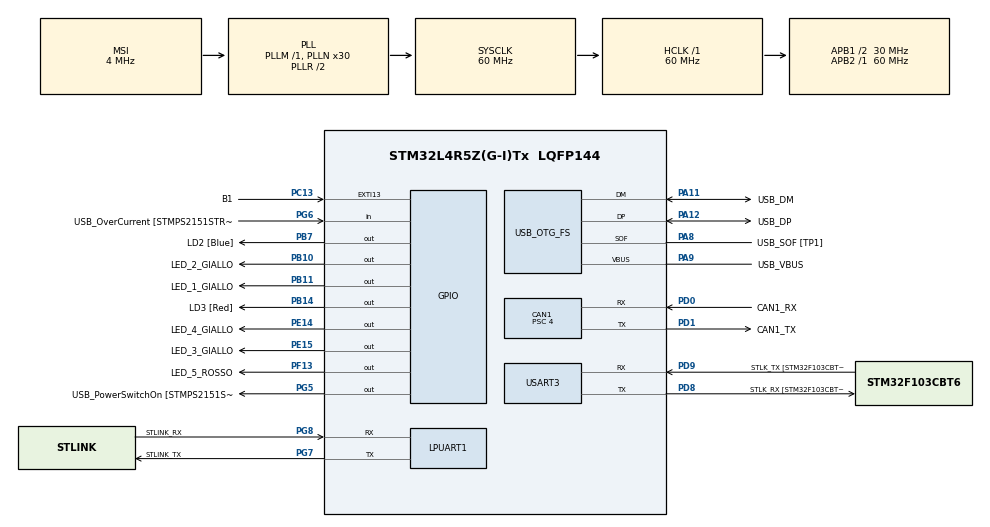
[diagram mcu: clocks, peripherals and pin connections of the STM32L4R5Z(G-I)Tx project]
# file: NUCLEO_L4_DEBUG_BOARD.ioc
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CAN1.BS1=CAN_BS1_12TQ
CAN1.BS2=CAN_BS2_2TQ
CAN1.CalculateTimeQuantum=133.33333333333334
CAN1.Prescaler=4
Mcu.Family=STM32L4
Mcu.Name=STM32L4R5Z(G-I)Tx
Mcu.Package=LQFP144
NVIC.CAN1_RX0_IRQn=true\:0\:0\:false\:false\:true\:true\:true
NVIC.CAN1_RX1_IRQn=true\:0\:0\:false\:false\:true\:true\:true
NVIC.CAN1_TX_IRQn=true\:0\:0\:false\:false\:true\:true\:true
NVIC.PriorityGroup=NVIC_PRIORITYGROUP_4
NVIC.TIM2_IRQn=true\:0\:0\:false\:false\:true\:true\:true
NVIC.TIM3_IRQn=true\:0\:0\:false\:false\:true\:true\:true
PA10.GPIO_Label=USB_ID
PA10.Signal=USB_OTG_FS_ID
PA11.GPIO_Label=USB_DM
PA11.Mode=Device_Only
PA11.Signal=USB_OTG_FS_DM
PA12.GPIO_Label=USB_DP
PA12.Mode=Device_Only
PA12.Signal=USB_OTG_FS_DP
PA13\ (JTMS/SWDIO).GPIO_Label=TMS
PA13\ (JTMS/SWDIO).Mode=Trace_Asynchronous_SW
PA13\ (JTMS/SWDIO).Signal=SYS_JTMS-SWDIO
PA14\ (JTCK/SWCLK).GPIO_Label=TCK
PA14\ (JTCK/SWCLK).Mode=Trace_Asynchronous_SW
PA14\ (JTCK/SWCLK).Signal=SYS_JTCK-SWCLK
PA8.GPIO_Label=USB_SOF [TP1]
PA8.Mode=Activate_SOF_FS
PA8.Signal=USB_OTG_FS_SOF
PA9.GPIO_Label=USB_VBUS
PA9.Mode=Activate_VBUS
PA9.Signal=USB_OTG_FS_VBUS
PB10.GPIO_Label=LED_2_GIALLO
PB10.Signal=GPIO_Output
PB11.GPIO_Label=LED_1_GIALLO
PB11.Signal=GPIO_Output
PB14.GPIO_Label=LD3 [Red]
PB14.Signal=GPIO_Output
PB3\ (JTDO/TRACESWO).GPIO_Label=SWO
PB3\ (JTDO/TRACESWO).Mode=Trace_Asynchronous_SW
PB3\ (JTDO/TRACESWO).Signal=SYS_JTDO-SWO
PB7.GPIO_Label=LD2 [Blue]
PB7.Signal=GPIO_Output
PC13.GPIO_Label=B1
PC13.Signal=GPXTI13
PC14-OSC32_IN\ (PC14).Mode=LSE-External-Oscillator
PC14-OSC32_IN\ (PC14).Signal=RCC_OSC32_IN
PC15-OSC32_OUT\ (PC15).Mode=LSE-External-Oscillator
PC15-OSC32_OUT\ (PC15).Signal=RCC_OSC32_OUT
PD0.GPIO_Label=CAN1_RX
PD0.Mode=Master
PD0.Signal=CAN1_RX
PD1.GPIO_Label=CAN1_TX
PD1.Mode=Master
PD1.Signal=CAN1_TX
PD8.GPIO_Label=STLK_RX [STM32F103CBT6_PA3]
PD8.Mode=Asynchronous
PD8.Signal=USART3_TX
PD9.GPIO_Label=STLK_TX [STM32F103CBT6_PA2]
PD9.Mode=Asynchronous
PD9.Signal=USART3_RX
PE14.GPIO_Label=LED_4_GIALLO
PE14.Signal=GPIO_Output
PE15.GPIO_Label=LED_3_GIALLO
PE15.Signal=GPIO_Output
PF13.GPIO_Label=LED_5_ROSSO
PF13.Signal=GPIO_Output
PG5.GPIO_Label=USB_PowerSwitchOn [STMPS2151STR_EN]
PG5.Signal=GPIO_Output
PG6.GPIO_Label=USB_OverCurrent [STMPS2151STR_FAULT]
PG6.Signal=GPIO_Input
PG7.GPIO_Label=STLINK_TX
PG7.Mode=Asynchronous
PG7.Signal=LPUART1_TX
PG8.GPIO_Label=STLINK_RX
PG8.Mode=Asynchronous
PG8.Signal=LPUART1_RX
PH0-OSC_IN\ (PH0).Mode=HSE-External-Clock-Source
PH0-OSC_IN\ (PH0).Signal=RCC_OSC_IN
PH1-OSC_OUT\ (PH1).Signal=RCC_OSC_OUT
ProjectManager.HeapSize=0x200
ProjectManager.StackSize=0x400
ProjectManager.TargetToolchain=MDK-ARM V5
RCC.48MHZClocksFreq_Value=24000000
RCC.ADCFreq_Value=48000000
RCC.AHBFreq_Value=60000000
RCC.APB1CLKDivider=RCC_HCLK_DIV2
RCC.APB1Freq_Value=30000000
RCC.APB1TimFreq_Value=60000000
RCC.APB2Freq_Value=60000000
RCC.APB2TimFreq_Value=60000000
RCC.CortexFreq_Value=60000000
RCC.HCLKFreq_Value=60000000
RCC.HSE_VALUE=8000000
RCC.HSI48_VALUE=48000000
RCC.HSI_VALUE=16000000
RCC.MSI_VALUE=4000000
RCC.PLLMUL=RCC_PLL_MUL9
RCC.PLLN=30
RCC.PLLSAI1N=24
RCC.PRESCALERUSB=RCC_USBCLKSOURCE_PLL_DIV1_5
RCC.SYSCLKFreq_VALUE=60000000
RCC.SYSCLKSource=RCC_SYSCLKSOURCE_PLLCLK
RCC.SYSCLKSourceVirtual=RCC_SYSCLKSOURCE_PLLCLK
RCC.USBFreq_Value=48000000
RCC.VCOOutputFreq_Value=120000000
TIM2.Period=5
TIM2.Prescaler=9999
TIM3.Period=6
TIM3.Prescaler=9999
USART3.VirtualMode-Asynchronous=VM_ASYNC
USB_OTG_FS.VirtualMode=Device_Only
VP_TIM2_VS_ClockSourceINT.Mode=Internal
VP_TIM3_VS_ClockSourceINT.Mode=Internal
board=NUCLEO-L4R5ZI

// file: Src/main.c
/* USER CODE BEGIN Header */
/**
  ******************************************************************************
  * @file           : main.c
  * @brief          : Main program body
  ******************************************************************************
  * @attention
  *
  * <h2><center>&copy; Copyright (c) 2019 STMicroelectronics.
  * All rights reserved.</center></h2>
  *
  * This software component is licensed by ST under BSD 3-Clause license,
  * the "License"; You may not use this file except in compliance with the
  * License. You may obtain a copy of the License at:
  *                        opensource.org/licenses/BSD-3-Clause
  *
  ******************************************************************************
  */
/* USER CODE END Header */

#include "main.h"
#include "can.h"
#include "usart.h"
#include "tim.h"
#include "usb_otg.h"
#include "gpio.h"

void SystemClock_Config(void);

/* USER CODE BEGIN 0 */
uint16_t timer2_counter1 = 0;
char receivedOk = 0;
uint32_t emptyMailboxes = 2;
/* USER CODE END 0 */

int main(void)
{

  /* MCU Configuration--------------------------------------------------------*/

  /* Reset of all peripherals, Initializes the Flash interface and the Systick. */
  HAL_Init();

  /* Configure the system clock */
  SystemClock_Config();

  /* Initialize all configured peripherals */
  MX_GPIO_Init();
  MX_CAN1_Init();
  MX_LPUART1_UART_Init();
  MX_USART3_UART_Init();
  MX_USB_OTG_FS_PCD_Init();
  MX_TIM2_Init();
  MX_TIM3_Init();
  /* USER CODE BEGIN 2 */
	HAL_TIM_Base_Start_IT(&htim2);
	CAN1_Start();
	HAL_GPIO_WritePin(GPIOB, GPIO_PIN_11, GPIO_PIN_SET);
	HAL_GPIO_WritePin(GPIOB, GPIO_PIN_10, GPIO_PIN_RESET);
	HAL_GPIO_WritePin(GPIOE, GPIO_PIN_15, GPIO_PIN_SET);
	HAL_GPIO_WritePin(GPIOE, GPIO_PIN_14, GPIO_PIN_RESET);
	HAL_GPIO_WritePin(GPIOF, GPIO_PIN_13, GPIO_PIN_SET);
	HAL_GPIO_WritePin(GPIOB, GPIO_PIN_14, GPIO_PIN_RESET);

	//CAN1_Send_Nucleo_L4_Packet();
	HAL_Delay(250);
	CAN1_Send_Nucleo_L4_Packet();
  /* USER CODE END 2 */

  /* Infinite loop */
  /* USER CODE BEGIN WHILE */
  while (1)
  {
//			HAL_GPIO_TogglePin(GPIOB, GPIO_PIN_11);
//			HAL_GPIO_TogglePin(GPIOB, GPIO_PIN_10);
//			HAL_GPIO_TogglePin(GPIOE, GPIO_PIN_15);
//			HAL_GPIO_TogglePin(GPIOE, GPIO_PIN_14);
//			HAL_GPIO_TogglePin(GPIOF, GPIO_PIN_13);
    /* USER CODE END WHILE */

  }
}

void SystemClock_Config(void)
{
  RCC_OscInitTypeDef RCC_OscInitStruct = {0};
  RCC_ClkInitTypeDef RCC_ClkInitStruct = {0};
  RCC_PeriphCLKInitTypeDef PeriphClkInit = {0};

  /** Configure the main internal regulator output voltage
  */
  if (HAL_PWREx_ControlVoltageScaling(PWR_REGULATOR_VOLTAGE_SCALE1) != HAL_OK)
  {
    Error_Handler();
  }
  /** Configure LSE Drive Capability
  */
  HAL_PWR_EnableBkUpAccess();
  __HAL_RCC_LSEDRIVE_CONFIG(RCC_LSEDRIVE_LOW);
  /** Initializes the CPU, AHB and APB busses clocks
  */
  RCC_OscInitStruct.OscillatorType = RCC_OSCILLATORTYPE_LSE|RCC_OSCILLATORTYPE_MSI;
  RCC_OscInitStruct.LSEState = RCC_LSE_ON;
  RCC_OscInitStruct.MSIState = RCC_MSI_ON;
  RCC_OscInitStruct.MSICalibrationValue = 0;
  RCC_OscInitStruct.MSIClockRange = RCC_MSIRANGE_6;
  RCC_OscInitStruct.PLL.PLLState = RCC_PLL_ON;
  RCC_OscInitStruct.PLL.PLLSource = RCC_PLLSOURCE_MSI;
  RCC_OscInitStruct.PLL.PLLM = 1;
  RCC_OscInitStruct.PLL.PLLN = 30;
  RCC_OscInitStruct.PLL.PLLP = RCC_PLLP_DIV2;
  RCC_OscInitStruct.PLL.PLLQ = RCC_PLLQ_DIV2;
  RCC_OscInitStruct.PLL.PLLR = RCC_PLLR_DIV2;
  if (HAL_RCC_OscConfig(&RCC_OscInitStruct) != HAL_OK)
  {
    Error_Handler();
  }
  /** Initializes the CPU, AHB and APB busses clocks
  */
  RCC_ClkInitStruct.ClockType = RCC_CLOCKTYPE_HCLK|RCC_CLOCKTYPE_SYSCLK
                              |RCC_CLOCKTYPE_PCLK1|RCC_CLOCKTYPE_PCLK2;
  RCC_ClkInitStruct.SYSCLKSource = RCC_SYSCLKSOURCE_PLLCLK;
  RCC_ClkInitStruct.AHBCLKDivider = RCC_SYSCLK_DIV1;
  RCC_ClkInitStruct.APB1CLKDivider = RCC_HCLK_DIV2;
  RCC_ClkInitStruct.APB2CLKDivider = RCC_HCLK_DIV1;

  if (HAL_RCC_ClockConfig(&RCC_ClkInitStruct, FLASH_LATENCY_2) != HAL_OK)
  {
    Error_Handler();
  }
  PeriphClkInit.PeriphClockSelection = RCC_PERIPHCLK_USART3|RCC_PERIPHCLK_LPUART1
                              |RCC_PERIPHCLK_USB;
  PeriphClkInit.Usart3ClockSelection = RCC_USART3CLKSOURCE_PCLK1;
  PeriphClkInit.Lpuart1ClockSelection = RCC_LPUART1CLKSOURCE_PCLK1;
  PeriphClkInit.UsbClockSelection = RCC_USBCLKSOURCE_PLLSAI1;
  PeriphClkInit.PLLSAI1.PLLSAI1Source = RCC_PLLSOURCE_MSI;
  PeriphClkInit.PLLSAI1.PLLSAI1M = 1;
  PeriphClkInit.PLLSAI1.PLLSAI1N = 24;
  PeriphClkInit.PLLSAI1.PLLSAI1P = RCC_PLLP_DIV2;
  PeriphClkInit.PLLSAI1.PLLSAI1Q = RCC_PLLQ_DIV2;
  PeriphClkInit.PLLSAI1.PLLSAI1R = RCC_PLLR_DIV2;
  PeriphClkInit.PLLSAI1.PLLSAI1ClockOut = RCC_PLLSAI1_48M2CLK;
  if (HAL_RCCEx_PeriphCLKConfig(&PeriphClkInit) != HAL_OK)
  {
    Error_Handler();
  }
  /** Enable MSI Auto calibration
  */
  HAL_RCCEx_EnableMSIPLLMode();
}

/* USER CODE BEGIN 4 */
void HAL_TIM_PeriodElapsedCallback(TIM_HandleTypeDef *htim)
{
    if (htim->Instance == htim2.Instance)
    {
			timer2_counter1++;
			//uint32_t emptyMailboxes = HAL_CAN_GetTxMailboxesFreeLevel(&hcan1);

			if(timer2_counter1 >= 500 && receivedOk == 1)
			{
				CAN1_Send_Nucleo_L4_Packet();
        /* Toggle LED */
				HAL_GPIO_TogglePin(GPIOB, GPIO_PIN_11);
				HAL_GPIO_TogglePin(GPIOB, GPIO_PIN_10);
				HAL_GPIO_TogglePin(GPIOE, GPIO_PIN_15);
				HAL_GPIO_TogglePin(GPIOE, GPIO_PIN_14);
				HAL_GPIO_TogglePin(GPIOF, GPIO_PIN_13);
				receivedOk = 1;
				timer2_counter1 = 0;
			}

    }
}
/* USER CODE END 4 */

void Error_Handler(void)
{
}

/************************ (C) COPYRIGHT STMicroelectronics *****END OF FILE****/
